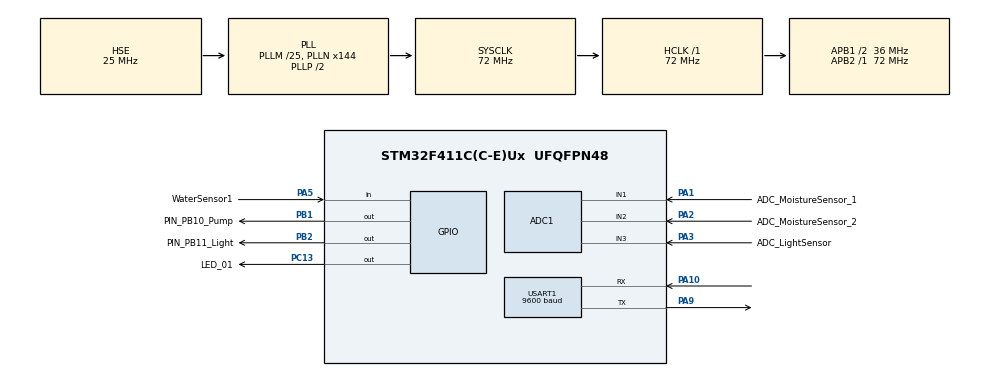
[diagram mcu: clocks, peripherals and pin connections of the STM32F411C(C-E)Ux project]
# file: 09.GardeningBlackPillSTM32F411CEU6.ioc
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ADC1.Channel-0\#ChannelRegularConversion=ADC_CHANNEL_1
ADC1.Channel-1\#ChannelRegularConversion=ADC_CHANNEL_2
ADC1.Channel-2\#ChannelRegularConversion=ADC_CHANNEL_3
ADC1.ClockPrescaler=ADC_CLOCK_SYNC_PCLK_DIV4
ADC1.ContinuousConvMode=ENABLE
ADC1.DMAContinuousRequests=ENABLE
ADC1.NbrOfConversion=3
ADC1.NbrOfConversionFlag=1
ADC1.Rank-0\#ChannelRegularConversion=1
ADC1.Rank-1\#ChannelRegularConversion=2
ADC1.Rank-2\#ChannelRegularConversion=3
ADC1.SamplingTime-0\#ChannelRegularConversion=ADC_SAMPLETIME_112CYCLES
ADC1.SamplingTime-1\#ChannelRegularConversion=ADC_SAMPLETIME_112CYCLES
ADC1.SamplingTime-2\#ChannelRegularConversion=ADC_SAMPLETIME_112CYCLES
ADC1.ScanConvMode=ENABLE
ADC1.master=1
Dma.ADC1.0.Direction=DMA_PERIPH_TO_MEMORY
Dma.ADC1.0.FIFOMode=DMA_FIFOMODE_DISABLE
Dma.ADC1.0.Instance=DMA2_Stream0
Dma.ADC1.0.MemDataAlignment=DMA_MDATAALIGN_HALFWORD
Dma.ADC1.0.MemInc=DMA_MINC_ENABLE
Dma.ADC1.0.Mode=DMA_CIRCULAR
Dma.ADC1.0.PeriphDataAlignment=DMA_PDATAALIGN_HALFWORD
Dma.ADC1.0.PeriphInc=DMA_PINC_DISABLE
Dma.ADC1.0.Priority=DMA_PRIORITY_LOW
Dma.Request0=ADC1
Mcu.Family=STM32F4
Mcu.Name=STM32F411C(C-E)Ux
Mcu.Package=UFQFPN48
NVIC.ADC_IRQn=true\:0\:0\:false\:false\:true\:true\:true\:true
NVIC.DMA2_Stream0_IRQn=true\:1\:0\:true\:false\:true\:false\:true\:true
NVIC.PriorityGroup=NVIC_PRIORITYGROUP_4
NVIC.TIM3_IRQn=true\:0\:0\:false\:false\:true\:true\:true\:true
NVIC.USART1_IRQn=true\:2\:0\:true\:false\:true\:true\:true\:true
PA1.GPIO_Label=ADC_MoistureSensor_1
PA1.Signal=ADCx_IN1
PA10.Mode=Asynchronous
PA10.Signal=USART1_RX
PA13.Mode=Serial_Wire
PA13.Signal=SYS_JTMS-SWDIO
PA14.Mode=Serial_Wire
PA14.Signal=SYS_JTCK-SWCLK
PA2.GPIO_Label=ADC_MoistureSensor_2
PA2.Signal=ADCx_IN2
PA3.GPIO_Label=ADC_LightSensor
PA3.Signal=ADCx_IN3
PA5.GPIO_Label=WaterSensor1
PA5.GPIO_PuPd=GPIO_PULLDOWN
PA5.Signal=GPIO_Input
PA9.Mode=Asynchronous
PA9.Signal=USART1_TX
PB1.GPIO_Label=PIN_PB10_Pump
PB1.Signal=GPIO_Output
PB2.GPIO_Label=PIN_PB11_Light
PB2.Signal=GPIO_Output
PC13-ANTI_TAMP.GPIO_Label=LED_01
PC13-ANTI_TAMP.Signal=GPIO_Output
PH0\ -\ OSC_IN.Mode=HSE-External-Oscillator
PH0\ -\ OSC_IN.Signal=RCC_OSC_IN
PH1\ -\ OSC_OUT.Mode=HSE-External-Oscillator
PH1\ -\ OSC_OUT.Signal=RCC_OSC_OUT
ProjectManager.HeapSize=0x200
ProjectManager.StackSize=0x400
ProjectManager.TargetToolchain=STM32CubeIDE
RCC.48MHZClocksFreq_Value=36000000
RCC.AHBFreq_Value=72000000
RCC.APB1CLKDivider=RCC_HCLK_DIV2
RCC.APB1Freq_Value=36000000
RCC.APB1TimFreq_Value=72000000
RCC.APB2Freq_Value=72000000
RCC.APB2TimFreq_Value=72000000
RCC.CortexFreq_Value=72000000
RCC.HCLKFreq_Value=72000000
RCC.HSE_VALUE=25000000
RCC.HSI_VALUE=16000000
RCC.LSE_VALUE=32768
RCC.PLLM=25
RCC.PLLN=144
RCC.PLLSourceVirtual=RCC_PLLSOURCE_HSE
RCC.SYSCLKFreq_VALUE=72000000
RCC.SYSCLKSource=RCC_SYSCLKSOURCE_PLLCLK
RCC.VCOOutputFreq_Value=144000000
SH.ADCx_IN1.0=ADC1_IN1,IN1
SH.ADCx_IN2.0=ADC1_IN2,IN2
SH.ADCx_IN3.0=ADC1_IN3,IN3
TIM3.AutoReloadPreload=TIM_AUTORELOAD_PRELOAD_ENABLE
TIM3.Period=9999
TIM3.Prescaler=7199
USART1.BaudRate=9600
USART1.VirtualMode=VM_ASYNC
VP_TIM3_VS_ClockSourceINT.Mode=Internal
board=custom

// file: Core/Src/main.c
/* USER CODE BEGIN Header */
/**
  ******************************************************************************
  * @file           : main.c
  * @brief          : Main program body
  ******************************************************************************
  * @attention
  *
  * Copyright (c) 2025 STMicroelectronics.
  * All rights reserved.
  *
  * This software is licensed under terms that can be found in the LICENSE file
  * in the root directory of this software component.
  * If no LICENSE file comes with this software, it is provided AS-IS.
  *
  ******************************************************************************
  */
/* USER CODE END Header */
#include "main.h"
#include "adc.h"
#include "dma.h"
#include "tim.h"
#include "usart.h"
#include "gpio.h"

/* USER CODE BEGIN Includes */
#include "eeF4.h"
#include "AppConfig.h"
/* USER CODE END Includes */

/* USER CODE BEGIN PTD */

#define ADC_BUF_SIZE 3
#define Channel_2_BUF_SIZE 10
#define Channel_3_BUF_SIZE 10
#define Channel_4_BUF_SIZE 10

/* USER CODE END PTD */

/* USER CODE BEGIN PD */
static bool parse_kv_int(const char *line, const char *key,  uint32_t *outVal);
/* USER CODE END PD */

/* USER CODE BEGIN PV */
bool DMA_Channel_2_Was_Filled = false;
bool DMA_Channel_3_Was_Filled = false;
bool DMA_Channel_4_Was_Filled = false;

int Buffer2_TableCount = 0;
int Buffer3_TableCount = 0;
int Buffer4_TableCount = 0;

//volatile bool adc_ready = false;
volatile uint16_t ADC_MoistureSensor_Dev_1[Channel_2_BUF_SIZE];
volatile uint16_t ADC_MoistureSensor_Dev_2[Channel_3_BUF_SIZE];
volatile uint16_t ADC_LightSensor_Dev[Channel_4_BUF_SIZE];
volatile uint16_t adc_buffer[ADC_BUF_SIZE];

DataFlash dane;
//uint32_t flash_addr = 0x000100;
uint32_t flash_address = EE_FLASH_BASE; // jesli offset + flash_addr;

/* USER CODE END PV */

void SystemClock_Config(void);
/* USER CODE BEGIN PFP */
HAL_StatusTypeDef Flash_WriteStruct(uint32_t address, void *data, uint32_t size);
void Flash_ReadStruct(uint32_t address, void *data, uint32_t size);
/* USER CODE END PFP */

int main(void)
{

  /* USER CODE BEGIN 1 */
	typedef enum {
		DARK =20,
		NIGHT_OR_MORNING = 90,
		BRIGHT = 99
	} Light_State;

  uint32_t TimeNOW = 0;

//  int GetMoistureAvg_TimeLenghtDefault = 20000; // 20 sek
//  int GetMoistureAvg_TimeLenghtFast = 1000; // 1sek
  uint32_t GetMoistureAvg_TimeLenght = 0;
  uint32_t GetSoilMoisture_FromTime = 0;

  int MoistureHumidityPercent_Dev_1 = 0;
  int MoistureHumidityPercent_Dev_2 = 0;
  int MoistureGeneral = 0;

  bool PumpIsRunning = false;
//  int StartPumpWhenMoistureLower = 40;
//  int StopPumpWhenMoistureHigher = 75;

  bool waitForDark = false;
  bool LightTimerEnabled = false;
//  uint32_t lightTime = 3600 * 1000 * 10;
  uint32_t GetLightTime_FromTime = 0;

  int GetLightMesurment_TimeLenghtDefault = 60000; //
  uint32_t GetLightMesurment_FromTime = 0;

  uint32_t MixWater_TimeLenghtDefault = 10800000; // 3h
  uint32_t MixWater_FromTime = 0;
  uint32_t MixWaterStep_FromTime = 0;

  typedef enum {
    MIX_WATER_IDLE = 0,
    MIX_WATER_PULSE_1_ON,
    MIX_WATER_PULSE_1_OFF,
    MIX_WATER_PULSE_2_ON
  } MixWater_State;

  MixWater_State MixWaterState = MIX_WATER_IDLE;
  const uint32_t MixWaterPulseTime = 5000;
  const uint32_t MixWaterPauseTime = 5000;

  int LightSensorPercent = 0;
  Light_State LightSensor = DARK;
  bool LightIsON = false;

  GPIO_PinState WaterSensor1State = GPIO_PIN_RESET;

//  int Sensor1DryValue = 2700; // przeniesione do EEPROM
//  int Sensor1WetValue = 2020;
//  int Sensor2DryValue = 2700;
//  int Sensor2WetValue = 2020;

  uint32_t LedSecond_FromTime=0; // nie dziala Led na balkonie
  uint32_t LedSecond=1000;

  /* USER CODE END 1 */

  /* MCU Configuration--------------------------------------------------------*/

  /* Reset of all peripherals, Initializes the Flash interface and the Systick. */
  HAL_Init();

  /* Configure the system clock */
  SystemClock_Config();

  /* Initialize all configured peripherals */
  MX_GPIO_Init();
  MX_DMA_Init();
  MX_ADC1_Init();
  MX_TIM3_Init();
  MX_USART1_UART_Init();
  /* USER CODE BEGIN 2 */
  InitUSART();

  Send("Welcome waweroIT\r\n");
  HAL_Delay(1000);

	Send("Read from flash on start...\r\n");
	memcpy(&dane, (void*)flash_address, sizeof(DataFlash));

	if  (!AppConfig_IsValid(&dane))
	{
	    // To pierwsze uruchomienie lub dane niewazne
		AppConfig_SetDefaults(&dane);

	    // Skasuj i zapisz domyslne wartosci do flash
		Send("Write basic Configuration\r\n");
		if (memoryPageErase(0) != HAL_OK ||
			Flash_WriteStruct(flash_address, &dane, sizeof(DataFlash)) != HAL_OK)
		{
		    Send("Saving error!\r\n");
		}
	}
	else
	{
		Send("Magic data ok.\r\n");
	}

	GetMoistureAvg_TimeLenght = dane.GetMoistureAvg_TimeLenghtDefault;

  HAL_ADC_Start_DMA(&hadc1, (uint32_t*)adc_buffer, ADC_BUF_SIZE);
  HAL_TIM_Base_Start_IT(&htim3);

  /* USER CODE END 2 */

  /* Infinite loop */
  /* USER CODE BEGIN WHILE */
  while (1)
  {
	  if (isRecivingComplete) //S1WValue:1900\r\n
	  {
	      char line[RX_BUFFER_SIZE];
	      // pobierz wszystkie dostępne linie (gdyby przyszło naraz kilka)
	      while (USART_TakeLine(line, sizeof(line))) {

	          bool matched = false;
          DataFlash dane_backup = dane;

	          matched |= parse_kv_int(line, "S1DValue", &dane.Sensor1DryValue);
	          matched |= parse_kv_int(line, "S1WValue", &dane.Sensor1WetValue);
	          matched |= parse_kv_int(line, "S2DValue", &dane.Sensor2DryValue);
	          matched |= parse_kv_int(line, "S2WValue", &dane.Sensor2WetValue);

	          matched |= parse_kv_int(line, "MoistureAvgTimeDefault", &dane.GetMoistureAvg_TimeLenghtDefault);
	          matched |= parse_kv_int(line, "MoistureAvgTimeFast", &dane.GetMoistureAvg_TimeLenghtFast);
	          matched |= parse_kv_int(line, "StartPumpWhenMoistureLower", &dane.StartPumpWhenMoistureLower);
	          matched |= parse_kv_int(line, "StopPumpWhenMoistureHigher", &dane.StopPumpWhenMoistureHigher);

	          matched |= parse_kv_int(line, "lightTime", &dane.lightTime);

	          uint32_t temp = 0;

	          if (parse_kv_int(line, "waterLvl", &temp)) {
					GPIO_PinState ss = HAL_GPIO_ReadPin(
							WaterSensor1_GPIO_Port, WaterSensor1_Pin);
					if (ss == GPIO_PIN_SET) {
						Sendf("Water level: LOW\r\n");
					}
					else
						Sendf("Water level: HIGH\r\n");
				}
	          else if (parse_kv_int(line, "runPump", &temp)) {
					if (temp == 1)
						HAL_GPIO_WritePin(PIN_PB10_Pump_GPIO_Port,
						PIN_PB10_Pump_Pin, GPIO_PIN_SET);
					else
						HAL_GPIO_WritePin(PIN_PB10_Pump_GPIO_Port,
						PIN_PB10_Pump_Pin, GPIO_PIN_RESET);
				}
	          else if (parse_kv_int(line, "lightOn", &temp)) {
					if (temp == 1)
						HAL_GPIO_WritePin(PIN_PB11_Light_GPIO_Port,
						PIN_PB11_Light_Pin, GPIO_PIN_SET);
					else
						HAL_GPIO_WritePin(PIN_PB11_Light_GPIO_Port,
						PIN_PB11_Light_Pin, GPIO_PIN_RESET);
				}
	          else if(parse_kv_int(line, "help", &temp))
	          {
	              Sendf("AvailConfig: S1DValue:%d\r\n", dane.Sensor1DryValue);
	              Sendf("AvailConfig: S1WValue:%d\r\n", dane.Sensor1WetValue);
	              Sendf("AvailConfig: S2DValue:%d\r\n", dane.Sensor2DryValue);
	              Sendf("AvailConfig: S2WValue:%d\r\n", dane.Sensor2WetValue);

	              Sendf("AvailConfig: MoistureAvgTimeDefault:%d\r\n", dane.GetMoistureAvg_TimeLenghtDefault);
	              Sendf("AvailConfig: MoistureAvgTimeFast:%d\r\n", dane.GetMoistureAvg_TimeLenghtFast);
	              Sendf("AvailConfig: StartPumpWhenMoistureLower:%d\r\n", dane.StartPumpWhenMoistureLower);
	              Sendf("AvailConfig: StopPumpWhenMoistureHigher:%d\r\n", dane.StopPumpWhenMoistureHigher);

	              Sendf("AvailConfig: lightTime:%d\r\n", dane.lightTime);
	              Sendf("other: waterLvl ,lightOn, runPump \r\n");

	          }
	          else if (matched)
	          {
	            if (!AppConfig_IsValid(&dane))
	            {
	              dane = dane_backup;
	              Sendf("ERR: invalid config \"%s\"\r\n", line);
	            }
	            else
	            {
	              Sendf("OK: %s\r\n", line);
	              GetMoistureAvg_TimeLenght = dane.GetMoistureAvg_TimeLenghtDefault;

	              Send("Save new config to flash..\r\n");
	      		  if (memoryPageErase(0) != HAL_OK ||
	      			  Flash_WriteStruct(flash_address, &dane, sizeof(DataFlash)) != HAL_OK)
	      	      {
	      	    	  Send("Saving error!\r\n");
	      	      }
	            }

	          } else {
	              Sendf("ERR: unknown cmd \"%s\"\r\n", line);
	          }
	      }
	      isRecivingComplete = false;
	  }

		 //if(adc_ready == true)
//		 if (hadc1.Instance == ADC1)
//		 {
				if(Buffer2_TableCount < Channel_2_BUF_SIZE && DMA_Channel_2_Was_Filled == false)
				{
					ADC_MoistureSensor_Dev_1[Buffer2_TableCount]= adc_buffer[0];
					Buffer2_TableCount++;
				}
				else
				{
					DMA_Channel_2_Was_Filled = true;
					Buffer2_TableCount = 0;
				}

				if(Buffer3_TableCount < Channel_3_BUF_SIZE && DMA_Channel_3_Was_Filled == false)
				{
					ADC_MoistureSensor_Dev_2[Buffer3_TableCount]= adc_buffer[1];
					Buffer3_TableCount++;
				}
				else
				{
					DMA_Channel_3_Was_Filled = true;
					Buffer3_TableCount = 0;
				}

				if(Buffer4_TableCount < Channel_4_BUF_SIZE && DMA_Channel_4_Was_Filled == false)
				{
					ADC_LightSensor_Dev[Buffer4_TableCount]= adc_buffer[2];
					Buffer4_TableCount++;
				}
				else
				{
					DMA_Channel_4_Was_Filled = true;
					Buffer4_TableCount = 0;
				}

				// adc_ready = false;
				 //HAL_ADC_Start_DMA(&hadc1, (uint32_t*)adc_buffer, ADC_BUF_SIZE);
//		 }

	    WaterSensor1State = HAL_GPIO_ReadPin( WaterSensor1_GPIO_Port, WaterSensor1_Pin);

		TimeNOW = HAL_GetTick();

		if(((uint32_t)TimeNOW - GetSoilMoisture_FromTime) >= GetMoistureAvg_TimeLenght)
		{
			GetSoilMoisture_FromTime = TimeNOW;

			 if(DMA_Channel_2_Was_Filled && DMA_Channel_3_Was_Filled)
			 {

	//			Moisture soil 1.2 -5 Volt
	//			 MoistureHumidityPercent_Dev_1 = ScaleADC_To_Percent_Inverted_Ranged(ADC_MoistureSensor_Dev_1, Channel_2_BUF_SIZE, 4095, 2300);
	//			 MoistureHumidityPercent_Dev_2 = ScaleADC_To_Percent_Inverted_Ranged(ADC_MoistureSensor_Dev_2, Channel_3_BUF_SIZE, 4095, 2300);

				 //MakerSoil MoistureSensor 5 Volt
//				 MoistureHumidityPercent_Dev_1 = ScaleADC_To_Percent_Inverted_Ranged(ADC_MoistureSensor_Dev_1, Channel_2_BUF_SIZE, 4095, 2910);
//				 MoistureHumidityPercent_Dev_2 = ScaleADC_To_Percent_Inverted_Ranged(ADC_MoistureSensor_Dev_2, Channel_3_BUF_SIZE, 4095, 2840);

				 //MakerSoil MoistureSensor 3.3 Volt

	  			 MoistureHumidityPercent_Dev_1 = ScaleADC_To_Percent_Inverted_Ranged((uint16_t*)ADC_MoistureSensor_Dev_1, Channel_2_BUF_SIZE, dane.Sensor1DryValue, dane.Sensor1WetValue);
				 MoistureHumidityPercent_Dev_2 = ScaleADC_To_Percent_Inverted_Ranged((uint16_t*)ADC_MoistureSensor_Dev_2, Channel_3_BUF_SIZE, dane.Sensor2DryValue, dane.Sensor2WetValue);

//				 MoistureHumidityPercent_Dev_1 = ScaleADC_To_Percent_Inverted_Ranged(ADC_MoistureSensor_Dev_1, Channel_2_BUF_SIZE, 2600, 1830);
//				 MoistureHumidityPercent_Dev_2 = ScaleADC_To_Percent_Inverted_Ranged(ADC_MoistureSensor_Dev_2, Channel_3_BUF_SIZE, 2600, 1830);

				 uint32_t avg = 0;
					for(int i = 0; i < Channel_2_BUF_SIZE; i++)
					{
						avg += ADC_MoistureSensor_Dev_1[i];
					}
					avg = ((avg) / Channel_2_BUF_SIZE);

				 Sendf("Moisture sensor Dev 1  ADC:     %d \r\n", avg);
				 Sendf("Moisture sensor Dev 1: S1DValue:%d S1WValue:%d\r\n", dane.Sensor1DryValue,dane.Sensor1WetValue);
				 Sendf("Moisture sensor Dev 1: %d %%\r\n\r\n", MoistureHumidityPercent_Dev_1);

				 	avg = 0;
					for(int i = 0; i < Channel_3_BUF_SIZE; i++)
					{
						avg += ADC_MoistureSensor_Dev_2[i];
					}
					avg = ((avg) / Channel_3_BUF_SIZE);

				 Sendf("Moisture sensor Dev 2  ADC:     %d \r\n", avg);
				 Sendf("Moisture sensor Dev 2: S2DValue:%d S2WValue:%d\r\n", dane.Sensor2DryValue,dane.Sensor2WetValue);
				 Sendf("Moisture sensor Dev 2: %d %%\r\n\r\n", MoistureHumidityPercent_Dev_2);

				 MoistureGeneral = (MoistureHumidityPercent_Dev_1 + MoistureHumidityPercent_Dev_2)/2;

				 Sendf("Soil moisture avg: %d %%\r\n\r\n", MoistureGeneral);

				 DMA_Channel_2_Was_Filled = false;
				 DMA_Channel_3_Was_Filled = false;

				 if (WaterSensor1State != GPIO_PIN_SET)
				 {
					 if(MoistureGeneral <= dane.StartPumpWhenMoistureLower && PumpIsRunning == false && MixWaterState == MIX_WATER_IDLE)
					 {
						 Sendf("Soil moisture avg: %d is <= %d \r\n", MoistureGeneral, dane.StartPumpWhenMoistureLower);

						 GetMoistureAvg_TimeLenght = dane.GetMoistureAvg_TimeLenghtFast;
						 HAL_GPIO_WritePin(PIN_PB10_Pump_GPIO_Port, PIN_PB10_Pump_Pin, GPIO_PIN_SET);
						 PumpIsRunning = true;
					 }
				 }
				 else
				 {
					 Sendf("Soil moisture avg: %d\r\nWater level: LOW\r\n", MoistureGeneral, dane.StartPumpWhenMoistureLower);
				 }

				 if(PumpIsRunning == true && WaterSensor1State == GPIO_PIN_SET)
				 {
					 Sendf("Water level: LOW\r\n");
					 HAL_GPIO_WritePin(PIN_PB10_Pump_GPIO_Port, PIN_PB10_Pump_Pin, GPIO_PIN_RESET);
					 GetMoistureAvg_TimeLenght = dane.GetMoistureAvg_TimeLenghtDefault;
					 PumpIsRunning = false;
				 }

				 if(MoistureGeneral >= dane.StopPumpWhenMoistureHigher && PumpIsRunning == true)
				 {
					 Sendf("Soil moisture avg: %d is >= %d \r\n", MoistureGeneral, dane.StopPumpWhenMoistureHigher);
					 HAL_GPIO_WritePin(PIN_PB10_Pump_GPIO_Port, PIN_PB10_Pump_Pin, GPIO_PIN_RESET);
					 GetMoistureAvg_TimeLenght = dane.GetMoistureAvg_TimeLenghtDefault;
					 PumpIsRunning = false;
				 }

			 }

		}

		TimeNOW = HAL_GetTick();

		if(((uint32_t)TimeNOW - GetLightMesurment_FromTime) >= (uint32_t)GetLightMesurment_TimeLenghtDefault)
		{
		    GetLightMesurment_FromTime = TimeNOW;

		    if(DMA_Channel_4_Was_Filled)
		    {
		        DMA_Channel_4_Was_Filled = false;

		        //jasno → niska rezystancja LDR → wysokie napięcie → wysokie ADC (np. 3500)
		        //ciemno → wysoka rezystancja LDR → niskie napięcie → niskie ADC (np. 100)
		        LightSensorPercent = ScaleADC_Light_To_Percentage((uint16_t*)ADC_LightSensor_Dev, Channel_4_BUF_SIZE, 100, 3700);

		        Sendf("Light sensor: %d %% light\r\n", LightSensorPercent);

		        if(LightSensorPercent <= DARK)
		            LightSensor = DARK;
		        else if(LightSensorPercent < BRIGHT)
		            LightSensor = NIGHT_OR_MORNING;
		        else
		            LightSensor = BRIGHT;
		        switch (LightSensor)
		        {
		            case DARK:
		                // Jeśli okno 10h jest aktywne -> DARK nie może wyłączać LED
		                if(LightTimerEnabled == true)
		                {
		                    if(LightIsON == false)
		                    {
		                        LightIsON = true;
		                        HAL_GPIO_WritePin(PIN_PB11_Light_GPIO_Port, PIN_PB11_Light_Pin, GPIO_PIN_SET);
		                        Sendf("Light sensor DARK enable LED (timer active)\r\n");
		                    }
		                }
		                else
		                {
		                    if(LightIsON == true)
		                    {
		                        HAL_GPIO_WritePin(PIN_PB11_Light_GPIO_Port, PIN_PB11_Light_Pin, GPIO_PIN_RESET);
		                        Sendf("Light sensor DARK disable LED\r\n");
		                        LightIsON = false;
		                    }
		                    waitForDark = false;
		                }
		            break;

		            case NIGHT_OR_MORNING:
		                // Start okna 10h tylko przy pierwszym sensownym "porannym" warunku
		                if(LightTimerEnabled == false && waitForDark == false)
		                {
		                    GetLightTime_FromTime = TimeNOW; // od tej pory zliczamy 10H okna świecenia
		                    LightTimerEnabled = true;
		                }

		                if(LightTimerEnabled == true)
		                {
		                    if(LightIsON == false && waitForDark == false)
		                    {
		                        LightIsON = true;
		                        HAL_GPIO_WritePin(PIN_PB11_Light_GPIO_Port, PIN_PB11_Light_Pin, GPIO_PIN_SET);
		                        Sendf("Light sensor NIGHT_OR_MORNING enable LED\r\n");
		                    }
		                }
		            break;

		            case BRIGHT:
		                // BRIGHT wyłącza LED, ale NIE resetuje okna czasowego (okno dalej leci)
		                if(LightIsON == true)
		                {
		                    HAL_GPIO_WritePin(PIN_PB11_Light_GPIO_Port, PIN_PB11_Light_Pin, GPIO_PIN_RESET);
		                    Sendf("Light sensor too BRIGHT disable LED\r\n");
		                    LightIsON = false;
		                }
		            break;

		            default:
		            break;
		        }
		    }

		    // Zamykanie okna 10h (zabezpieczenie na overflow ticków przez rzutowanie na uint32_t)
		    if(((uint32_t)(TimeNOW - GetLightTime_FromTime) >= dane.lightTime) && (LightTimerEnabled == true))
		    {
		        LightTimerEnabled = false;

		        HAL_GPIO_WritePin(PIN_PB11_Light_GPIO_Port, PIN_PB11_Light_Pin, GPIO_PIN_RESET);
		        LightIsON = false; // spójność stanu
		        waitForDark = true;
		        Sendf("Light time elapsed - disable LED\r\n");
		    }
		}

		TimeNOW = HAL_GetTick();

		if(MixWaterState == MIX_WATER_IDLE)
		{
			if(((uint32_t)TimeNOW - MixWater_FromTime) >= MixWater_TimeLenghtDefault)
			{
				MixWater_FromTime = TimeNOW;
				if (WaterSensor1State != GPIO_PIN_SET &&
					MoistureGeneral < dane.StopPumpWhenMoistureHigher &&
					PumpIsRunning == false)
				{
					Sendf("Mixing water..\r\n");
					HAL_GPIO_WritePin(PIN_PB10_Pump_GPIO_Port, PIN_PB10_Pump_Pin, GPIO_PIN_SET);
					MixWaterStep_FromTime = TimeNOW;
					MixWaterState = MIX_WATER_PULSE_1_ON;
				}
			}
		}
		else
		{
			switch (MixWaterState)
			{
				case MIX_WATER_PULSE_1_ON:
					if(((uint32_t)TimeNOW - MixWaterStep_FromTime) >= MixWaterPulseTime)
					{
						HAL_GPIO_WritePin(PIN_PB10_Pump_GPIO_Port, PIN_PB10_Pump_Pin, GPIO_PIN_RESET);
						MixWaterStep_FromTime = TimeNOW;
						MixWaterState = MIX_WATER_PULSE_1_OFF;
					}
				break;

				case MIX_WATER_PULSE_1_OFF:
					if(((uint32_t)TimeNOW - MixWaterStep_FromTime) >= MixWaterPauseTime)
					{
						HAL_GPIO_WritePin(PIN_PB10_Pump_GPIO_Port, PIN_PB10_Pump_Pin, GPIO_PIN_SET);
						MixWaterStep_FromTime = TimeNOW;
						MixWaterState = MIX_WATER_PULSE_2_ON;
					}
				break;

				case MIX_WATER_PULSE_2_ON:
					if(((uint32_t)TimeNOW - MixWaterStep_FromTime) >= MixWaterPulseTime)
					{
						HAL_GPIO_WritePin(PIN_PB10_Pump_GPIO_Port, PIN_PB10_Pump_Pin, GPIO_PIN_RESET);
						MixWaterState = MIX_WATER_IDLE;
					}
				break;

				default:
					HAL_GPIO_WritePin(PIN_PB10_Pump_GPIO_Port, PIN_PB10_Pump_Pin, GPIO_PIN_RESET);
					MixWaterState = MIX_WATER_IDLE;
				break;
			}
		}

		if((TimeNOW - LedSecond_FromTime) >= LedSecond)
		{
			LedSecond_FromTime = TimeNOW;
			HAL_GPIO_TogglePin(LED_01_GPIO_Port, LED_01_Pin);
		}
    /* USER CODE END WHILE */

  }
}

void SystemClock_Config(void)
{
  RCC_OscInitTypeDef RCC_OscInitStruct = {0};
  RCC_ClkInitTypeDef RCC_ClkInitStruct = {0};

  /** Configure the main internal regulator output voltage
  */
  __HAL_RCC_PWR_CLK_ENABLE();
  __HAL_PWR_VOLTAGESCALING_CONFIG(PWR_REGULATOR_VOLTAGE_SCALE1);

  /** Initializes the RCC Oscillators according to the specified parameters
  * in the RCC_OscInitTypeDef structure.
  */
  RCC_OscInitStruct.OscillatorType = RCC_OSCILLATORTYPE_HSE;
  RCC_OscInitStruct.HSEState = RCC_HSE_ON;
  RCC_OscInitStruct.PLL.PLLState = RCC_PLL_ON;
  RCC_OscInitStruct.PLL.PLLSource = RCC_PLLSOURCE_HSE;
  RCC_OscInitStruct.PLL.PLLM = 25;
  RCC_OscInitStruct.PLL.PLLN = 144;
  RCC_OscInitStruct.PLL.PLLP = RCC_PLLP_DIV2;
  RCC_OscInitStruct.PLL.PLLQ = 4;
  if (HAL_RCC_OscConfig(&RCC_OscInitStruct) != HAL_OK)
  {
    Error_Handler();
  }

  /** Initializes the CPU, AHB and APB buses clocks
  */
  RCC_ClkInitStruct.ClockType = RCC_CLOCKTYPE_HCLK|RCC_CLOCKTYPE_SYSCLK
                              |RCC_CLOCKTYPE_PCLK1|RCC_CLOCKTYPE_PCLK2;
  RCC_ClkInitStruct.SYSCLKSource = RCC_SYSCLKSOURCE_PLLCLK;
  RCC_ClkInitStruct.AHBCLKDivider = RCC_SYSCLK_DIV1;
  RCC_ClkInitStruct.APB1CLKDivider = RCC_HCLK_DIV2;
  RCC_ClkInitStruct.APB2CLKDivider = RCC_HCLK_DIV1;

  if (HAL_RCC_ClockConfig(&RCC_ClkInitStruct, FLASH_LATENCY_2) != HAL_OK)
  {
    Error_Handler();
  }
}

/* USER CODE BEGIN 4 */
//void HAL_ADC_ConvCpltCallback(ADC_HandleTypeDef *hadc)
//{
//	HAL_ADC_Stop_DMA(&hadc1); // jesli chcial bym wylaczyc timer
//	adc_ready = true;
//}

HAL_StatusTypeDef Flash_WriteStruct(uint32_t address, void *data, uint32_t size)
{
    HAL_StatusTypeDef status;

    if ((address & 0x3u) != 0u)
        return HAL_ERROR;

    status = HAL_FLASH_Unlock();
    if (status != HAL_OK)
        return status;

    flash_clear_all_flags();

    uint32_t *src = (uint32_t*)data;
    uint32_t words = (size + 3) / 4;   // ilość WORD

    for (uint32_t i = 0; i < words; i++)
    {
        status = HAL_FLASH_Program(FLASH_TYPEPROGRAM_WORD,
                                   address + (i * 4),
                                   src[i]);
        if (status != HAL_OK)
        {
            HAL_FLASH_Lock();
            return status;
        }
    }

    HAL_FLASH_Lock();
    return HAL_OK;
}

void Flash_ReadStruct(uint32_t address, void *data, uint32_t size)
{
    memcpy(data, (void*)address, size);
}

void HAL_TIM_PeriodElapsedCallback(TIM_HandleTypeDef *htim)
{
	if(htim->Instance == TIM3)
	{
		// HAL_GPIO_WritePin(GPIOC, GPIO_PIN_13, 1);  1 jako ON 0 jako OFF
		//HAL_GPIO_TogglePin(LED_01_GPIO_Port, LED_01_Pin);
	}
}

void HAL_UART_RxCpltCallback(UART_HandleTypeDef *huart)
{
    if (huart->Instance == USART1)
    {
        USART_OnByteReceived(rxByte);
        USART_StartReceiveIT();
    }
}

void HAL_UART_TxCpltCallback(UART_HandleTypeDef *huart)
{
    if (huart->Instance == USART1) // Sprawdź, czy to Twój UART
    {
    		USART_OnTxComplete();
    }
}

static bool parse_kv_int(const char *line, const char *key, uint32_t *outVal)
{
    if (line == NULL || key == NULL || outVal == NULL)
        return false;

    size_t klen = strlen(key);
    if (strncmp(line, key, klen) == 0 && line[klen] == ':') {
        int v = 0;
        if (sscanf(line + klen + 1, "%d", &v) == 1 && v >= 0) {
            *outVal = (uint32_t)v;
            return true;
        }
    }
    return false;
}

/* USER CODE END 4 */

void Error_Handler(void)
{
  __disable_irq();
  while (1)
  {
  }
}
